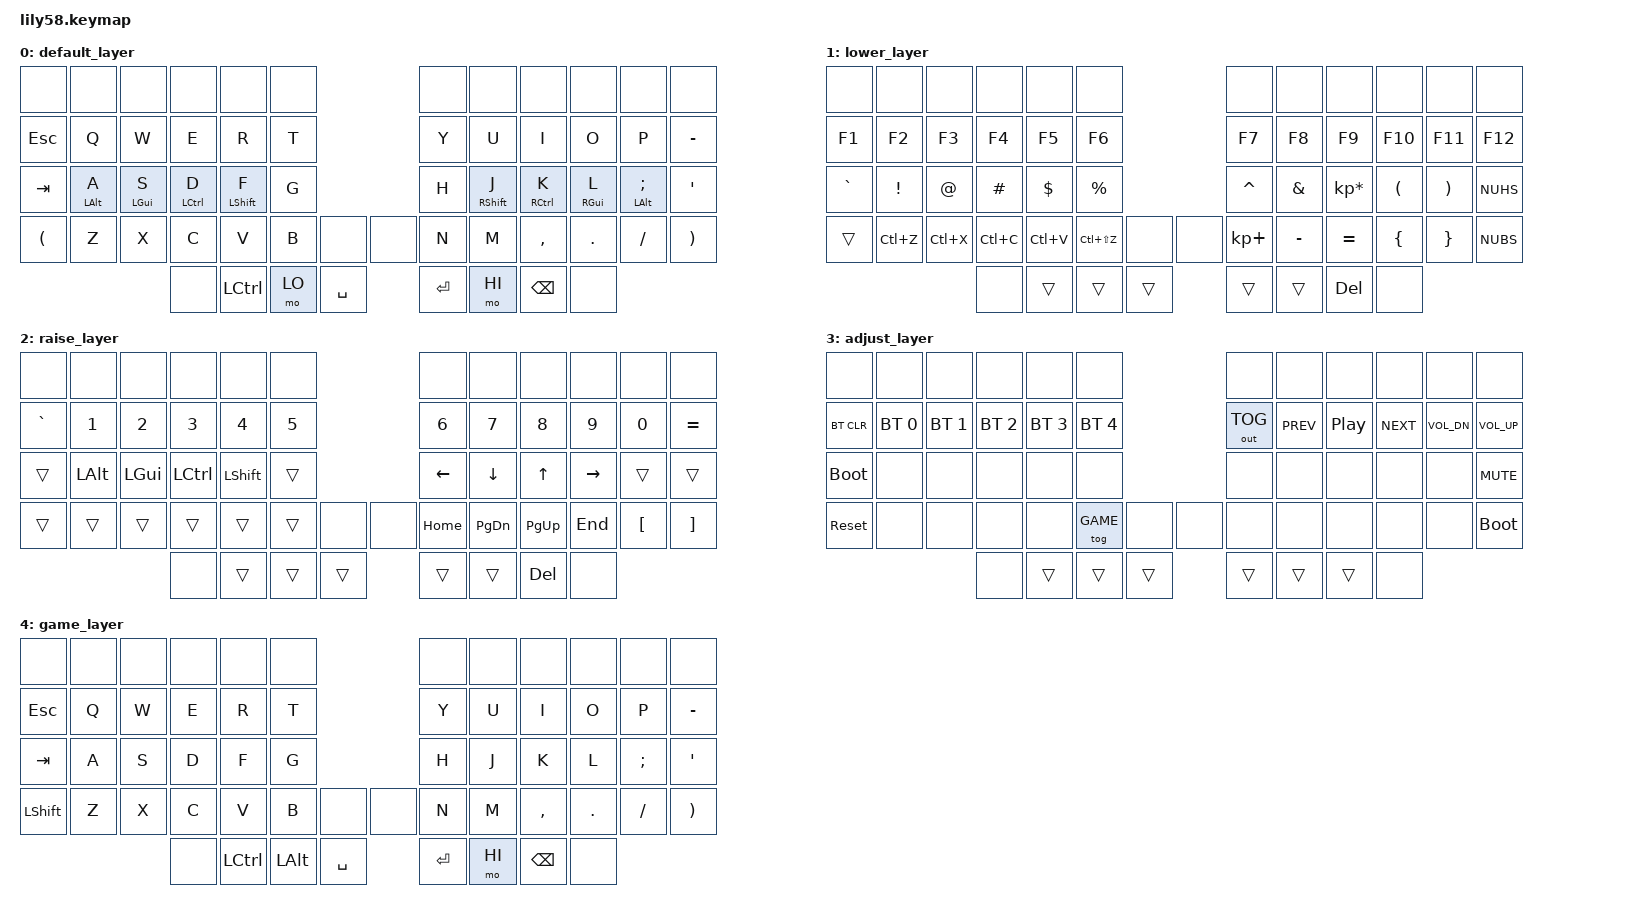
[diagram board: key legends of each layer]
/*
 * Copyright (c) 2020 The ZMK Contributors
 *
 * SPDX-License-Identifier: MIT
 *
 * TRAINING KEYMAP.
 *
 * This is the 42-key layout from corne.keymap, mapped onto the Lily58 with
 * every key that the new board does not have set to &none:
 *   - the whole number row      (12 keys)
 *   - the inner "[" and "]"     (2 keys)
 *   - the outermost thumb keys  (2 keys)
 * 58 - 16 = 42.
 *
 * The dead keys are deliberately &none rather than left working, so that
 * reaching for them fails loudly and the habit dies before the new board
 * arrives. Everything else sits in exactly the position it will occupy on
 * the new board.
 */

#include <behaviors.dtsi>
#include <dt-bindings/zmk/keys.h>
#include <dt-bindings/zmk/bt.h>
#include <dt-bindings/zmk/ext_power.h>
#include <dt-bindings/zmk/outputs.h>

#define DEF  0
#define LO   1
#define HI   2
#define ADJ  3
#define GAME 4

/ {
    behaviors {
        ht: hold_tap {
            compatible = "zmk,behavior-hold-tap";
            label = "HOME_ROW_MODS";
            #binding-cells = <2>;
            bindings = <&kp>, <&kp>;
            flavor = "tap-preferred";
            tapping-term-ms = <200>;
            quick-tap-ms = <200>;
            require-prior-idle-ms = <50>;
        };
    };

    conditional_layers {
        compatible = "zmk,conditional-layers";
        tri_layer {
            if-layers = <LO HI>;
            then-layer = <ADJ>;
        };
    };

    combos {
        compatible = "zmk,combos";
        // "," + "/" toggles the game layer. Lily58 key positions.
        combo_game {
            timeout-ms = <50>;
            key-positions = <46 48>;
            bindings = <&tog GAME>;
            layers = <DEF GAME>;
        };
    };

    keymap {
        compatible = "zmk,keymap";

        default_layer {
// ---------------------------------------------------------------------------------------
// | --- | --- | --- | --- | --- | --- |               | --- | --- | --- | --- | --- | --- |
// | ESC |  Q  |  W  |  E  |  R  |  T  |               |  Y  |  U  |  I  |  O  |  P  |  -  |
// | TAB |  A  |  S  |  D  |  F  |  G  |               |  H  |  J  |  K  |  L  |  ;  |  '  |
// |  (  |  Z  |  X  |  C  |  V  |  B  | --- | | --- | |  N  |  M  |  ,  |  .  |  /  |  )  |
//                   | --- | CTL |  LO | SPC | | RET | |  HI | BSPC| --- |
//
// GUI is only a home row mod (hold S / hold L). The outer left thumb holds CTRL.
            bindings = <
&none    &none      &none      &none       &none       &none                 &none   &none       &none       &none      &none         &none
&kp ESC  &kp Q      &kp W      &kp E       &kp R       &kp T                 &kp Y   &kp U       &kp I       &kp O      &kp P         &kp MINUS
&kp TAB  &ht LALT A &ht LGUI S &ht LCTRL D &ht LSHFT F &kp G                 &kp H   &ht RSHFT J &ht RCTRL K &ht RGUI L &ht LALT SEMI &kp SQT
&kp LPAR &kp Z      &kp X      &kp C       &kp V       &kp B  &none  &none   &kp N   &kp M       &kp COMMA   &kp DOT    &kp FSLH      &kp RPAR
                               &none       &kp LCTRL   &mo LO &kp SPACE      &kp RET &mo HI      &kp BSPC    &none
            >;
        };

        lower_layer {
// ---------------------------------------------------------------------------------------
// | --- | --- | --- | --- | --- | --- |               | --- | --- | --- | --- | --- | --- |
// | F1  | F2  | F3  | F4  | F5  | F6  |               | F7  | F8  | F9  | F10 | F11 | F12 |
// |  `  |  !  |  "  |  £  |  $  |  %  |               |  ^  |  &  |  *  |  (  |  )  |  #  |
// |     | UND | CUT | CPY | PST | RDO | --- | | --- | |  +  |  -  |  =  |  {  |  }  |  \  |
//                   | --- |     |     |     | |     | |     | DEL | --- |
            bindings = <
&none     &none     &none     &none     &none      &none                          &none       &none     &none           &none    &none    &none
&kp F1    &kp F2    &kp F3    &kp F4    &kp F5     &kp F6                          &kp F7      &kp F8    &kp F9          &kp F10  &kp F11  &kp F12
&kp GRAVE &kp EXCL  &kp AT    &kp HASH  &kp DOLLAR &kp PRCNT                       &kp CARET   &kp AMPS  &kp KP_MULTIPLY &kp LPAR &kp RPAR &kp NUHS
&trans    &kp LC(Z) &kp LC(X) &kp LC(C) &kp LC(V)  &kp LC(LS(Z)) &none  &none      &kp KP_PLUS &kp MINUS &kp EQUAL       &kp LBRC &kp RBRC &kp NUBS
                              &none     &trans     &trans        &trans            &trans      &trans    &kp DEL         &none
            >;
        };

        raise_layer {
// ---------------------------------------------------------------------------------------
// | --- | --- | --- | --- | --- | --- |               | --- | --- | --- | --- | --- | --- |
// |  `  |  1  |  2  |  3  |  4  |  5  |               |  6  |  7  |  8  |  9  |  0  |  =  |
// |     | ALT | GUI | CTL | SFT |     |               |  <  |  v  |  ^  |  >  |     |     |
// |     |     |     |     |     |     | --- | | --- | | HOME| PGDN| PGUP| END |  [  |  ]  |
//                   | --- |     |     |     | |     | |     | DEL | --- |
            bindings = <
&none     &none    &none    &none     &none     &none                       &none    &none     &none     &none     &none    &none
&kp GRAVE &kp N1   &kp N2   &kp N3    &kp N4    &kp N5                      &kp N6   &kp N7    &kp N8    &kp N9    &kp N0   &kp EQUAL
&trans    &kp LALT &kp LGUI &kp LCTRL &kp LSHFT &trans                      &kp LEFT &kp DOWN  &kp UP    &kp RIGHT &trans   &trans
&trans    &trans   &trans   &trans    &trans    &trans   &none  &none       &kp HOME &kp PG_DN &kp PG_UP &kp END   &kp LBKT &kp RBKT
                            &none     &trans    &trans   &trans             &trans   &trans    &kp DEL   &none
            >;
        };

        adjust_layer {
// ---------------------------------------------------------------------------------------
// | --- | --- | --- | --- | --- | --- |               | --- | --- | --- | --- | --- | --- |
// |BTCLR| BT1 | BT2 | BT3 | BT4 | BT5 |               | OUT | PREV| PLAY| NEXT| VOL-| VOL+|
// |BOOT |     |     |     |     |     |               |     |     |     |     |     | MUTE|
// |RESET|     |     |     |     | GAME| --- | | --- | |     |     |     |     |     | BOOT|
//                   | --- |     |     |     | |     | |     |     | --- |
            bindings = <
&none       &none        &none        &none        &none        &none                          &none        &none      &none    &none      &none        &none
&bt BT_CLR  &bt BT_SEL 0 &bt BT_SEL 1 &bt BT_SEL 2 &bt BT_SEL 3 &bt BT_SEL 4                    &out OUT_TOG &kp C_PREV &kp C_PP &kp C_NEXT &kp C_VOL_DN &kp C_VOL_UP
&bootloader &none        &none        &none        &none        &none                           &none        &none      &none    &none      &none        &kp C_MUTE
&sys_reset  &none        &none        &none        &none        &tog GAME    &none  &none       &none        &none      &none    &none      &none        &bootloader
                                      &none        &trans       &trans       &trans             &trans       &trans     &trans   &none
            >;
        };

        game_layer {
// ---------------------------------------------------------------------------------------
// | --- | --- | --- | --- | --- | --- |               | --- | --- | --- | --- | --- | --- |
// | ESC |  Q  |  W  |  E  |  R  |  T  |               |  Y  |  U  |  I  |  O  |  P  |  -  |
// | TAB |  A  |  S  |  D  |  F  |  G  |               |  H  |  J  |  K  |  L  |  ;  |  '  |
// |SHIFT|  Z  |  X  |  C  |  V  |  B  | --- | | --- | |  N  |  M  |  ,  |  .  |  /  |  )  |
//                   | --- | CTL | ALT | SPC | | RET | |  HI | BSPC| --- |
            bindings = <
&none     &none &none &none     &none    &none                    &none   &none  &none     &none   &none    &none
&kp ESC   &kp Q &kp W &kp E     &kp R    &kp T                    &kp Y   &kp U  &kp I     &kp O   &kp P    &kp MINUS
&kp TAB   &kp A &kp S &kp D     &kp F    &kp G                    &kp H   &kp J  &kp K     &kp L   &kp SEMI &kp SQT
&kp LSHFT &kp Z &kp X &kp C     &kp V    &kp B     &none  &none   &kp N   &kp M  &kp COMMA &kp DOT &kp FSLH &kp RPAR
                      &none     &kp LCTRL &kp LALT &kp SPACE      &kp RET &mo HI &kp BSPC  &none
            >;
        };
    };
};
